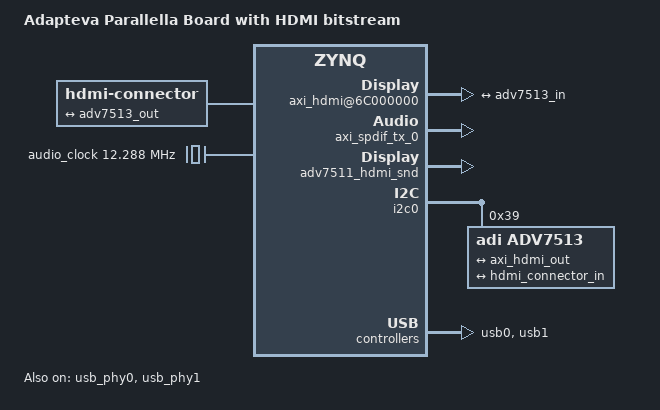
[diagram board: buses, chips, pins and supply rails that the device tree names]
/*
 * Copyright (c) 2014 SUSE LINUX Products GmbH
 * Copyright (c) 2015 SUSE Linux GmbH
 *
 * This software is licensed under the terms of the GNU General Public
 * License version 2, as published by the Free Software Foundation, and
 * may be copied, distributed, and modified under those terms.
 *
 * This program is distributed in the hope that it will be useful,
 * but WITHOUT ANY WARRANTY; without even the implied warranty of
 * MERCHANTABILITY or FITNESS FOR A PARTICULAR PURPOSE.  See the
 * GNU General Public License for more details.
 */
/dts-v1/;
#include "zynq-parallella1.dtsi"

/ {
	model = "Adapteva Parallella Board with HDMI bitstream";

	hdmi-connector {
		compatible = "hdmi-connector";
		type = "d";
		label = "hdmi";

		port {
			hdmi_connector_in: endpoint {
				remote-endpoint = <&adv7513_out>;
			};
		};
	};
};

&usb_phy0 {
	status = "okay";
};

&usb_phy1 {
	status = "okay";
};

&fpga {
	axi_vdma: axi-vdma@43000000 {
		compatible = "xlnx,axi-vdma-1.00.a", "xlnx,axi-vdma";
		reg = <0x43000000 0x1000>;
		#dma-cells = <1>;
		#address-cells = <1>;
		#size-cells = <1>;
		#dma-channels = <1>;
		xlnx,num-fstores = <0x3>;
		xlnx,flush-fsync = <0x1>;

		dma-channel@43000000 {
			compatible = "xlnx,axi-vdma-mm2s-channel";
			interrupt-parent = <&intc>;
			interrupts = <0 59 4>;
			xlnx,datawidth = <64>;
			xlnx,include-dre = <0>;
			xlnx,genlock-mode = <0>;
		};
	};

	hdmi_clock: axi-clkgen@66000000 {
		compatible = "adi,axi-clkgen-2.00.a";
		reg = <0x66000000 0x10000>;
		#clock-cells = <0>;
		clocks = <&clkc 17>;
	};

	axi_hdmi@6C000000 {
		compatible = "adi,axi-hdmi-tx-1.00.a";
		reg = <0x6c000000 0x10000>;
		dmas = <&axi_vdma 0>;
		dma-names = "video";
		clocks = <&hdmi_clock>;
		adi,is-rgb;

		port {
			axi_hdmi_out: endpoint {
				remote-endpoint = <&adv7513_in>;
			};
		};
	};

	audio_clock: audio-clock {
		compatible = "fixed-clock";
		#clock-cells = <0>;
		clock-frequency = <12288000>;
	};

	axi_spdif_tx_0: axi-spdif-tx@75c00000 {
		compatible = "adi,axi-spdif-tx-1.00.a";
		reg = <0x75c00000 0x1000>;
		clocks = <&clkc 15>, <&audio_clock>;
		clock-names = "axi", "ref";
		dmas = <&dmac_s 0>;
		dma-names = "tx";

		#sound-dai-cells = <0>;
	};

	adv7511_hdmi_snd: adv7511_hdmi_snd {
		compatible = "adv7511-hdmi-snd";
		audio-codec = <&adv7513>;
		cpu-dai = <&axi_spdif_tx_0>;
	};
};

&i2c0 {
	adv7513: hdmi@39 {
		compatible = "adi,adv7513";
		reg = <0x39>;
		adi,input-color-depth = <0x0>;
		adi,input-style = <0x2>;
		adi,bit-justification = <0x0>;
		adi,clock-delay = <0x3>;
		adi,input-id = <0x1>;
		adi,sync-pulse = <0x3>;
		adi,up-conversion = <0x0>;
		adi,timing-generation-sequence = <0x0>;
		adi,vsync-polarity = <0x2>;
		adi,hsync-polarity = <0x2>;
		adi,tdms-clock-inversion;

		#sound-dai-cells = <0>;

		ports {
			#address-cells = <1>;
			#size-cells = <0>;

			port@0 {
				reg = <0>;

				adv7513_in: endpoint {
					remote-endpoint = <&axi_hdmi_out>;
				};
			};

			port@1 {
				reg = <1>;

				adv7513_out: endpoint {
					remote-endpoint = <&hdmi_connector_in>;
				};
			};
		};
	};
};

&usb0 {
	status = "okay";
};

&usb1 {
	status = "okay";
};
